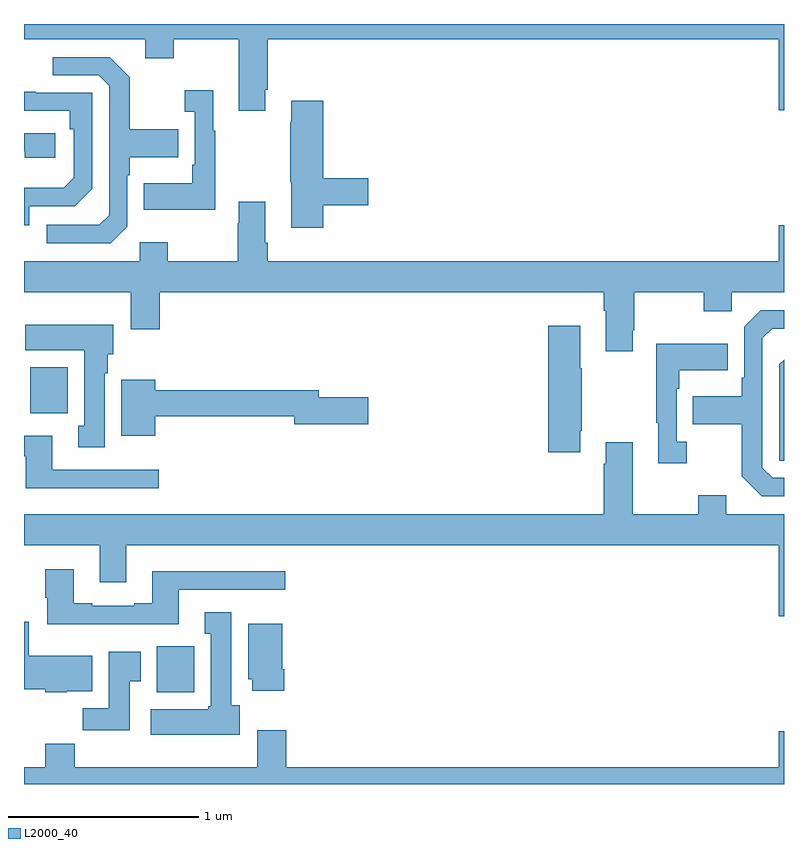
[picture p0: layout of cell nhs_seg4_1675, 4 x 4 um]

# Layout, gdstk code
import gdstk
lib = gdstk.Library(unit=1e-6, precision=1e-09)
def R(c, l, rs):  # rectangles x0, y0, x1, y1
    for r in rs: c.add(gdstk.rectangle(r[:2], r[2:], *l))
def P(c, l, *ps):  # polygons
    for p in ps: c.add(gdstk.Polygon(p, *l))
L2000_40 = (2000, 40)

nhs_seg4_1675 = lib.new_cell('nhs_seg4_1675')
R(nhs_seg4_1675, L2000_40, [(197.699,793.382,197.896,793.624), (197.033,794.852,197.23,795.094)])
P(nhs_seg4_1675, L2000_40, [(198.271,796.555),(198.284,796.555),(198.284,796.82),(200.972,796.82),(200.972,796.446),(201,796.446),(201,796.9),(197,796.9),(197,796.82),(197.639,796.82),(197.639,796.721),(197.787,796.721),(197.787,796.82),(198.131,796.82),(198.131,796.443),(198.271,796.443)],
  [(197.544,795.834),(197.544,796.103),(197.557,796.103),(197.557,796.199),(197.813,796.199),(197.813,796.347),(197.557,796.347),(197.557,796.619),(197.451,796.725),(197.151,796.725),(197.151,796.629),(197.394,796.629),(197.448,796.575),(197.448,795.894),(197.397,795.843),(197.121,795.843),(197.121,795.747),(197.457,795.747)],
  [(198.007,796.339),(197.995,796.339),(197.995,796.552),(197.847,796.552),(197.847,796.439),(197.898,796.439),(197.898,796.159),(197.886,796.159),(197.886,796.063),(197.629,796.063),(197.629,795.923),(198.007,795.923)],
  [(197.028,795.942),(197.268,795.942),(197.358,796.032),(197.358,796.539),(197.063,796.539),(197.063,796.544),(197,796.544),(197,796.443),(197.242,796.443),(197.242,796.346),(197.262,796.346),(197.262,796.092),(197.209,796.039),(197,796.039),(197,795.84),(197.028,795.84)],
  [(198.575,795.946),(198.811,795.946),(198.811,796.088),(198.575,796.088),(198.575,796.495),(198.407,796.495),(198.407,796.382),(198.4,796.382),(198.4,796.071),(198.407,796.071),(198.407,795.828),(198.575,795.828)],
  [(197.164,796.326),(197,796.326),(197,796.23),(197.003,796.23),(197.003,796.196),(197.164,796.196)],
  [(200.203,795.289),(200.211,795.289),(200.211,795.488),(200.578,795.488),(200.578,795.389),(200.724,795.389),(200.724,795.488),(201,795.488),(201,795.841),(200.972,795.841),(200.972,795.652),(198.284,795.652),(198.284,795.748),(198.271,795.748),(198.271,795.964),(198.131,795.964),(198.131,795.851),(198.124,795.851),(198.124,795.652),(197.757,795.652),(197.757,795.751),(197.61,795.751),(197.61,795.652),(197,795.652),(197,795.488),(197.561,795.488),(197.561,795.294),(197.714,795.294),(197.714,795.488),(200.051,795.488),(200.051,795.392),(200.063,795.392),(200.063,795.177),(200.203,795.177)],
  [(201,794.511),(200.94,794.511),(200.886,794.565),(200.886,795.246),(200.937,795.297),(201,795.297),(201,795.393),(200.877,795.393),(200.79,795.306),(200.79,795.037),(200.778,795.037),(200.778,794.941),(200.521,794.941),(200.521,794.794),(200.778,794.794),(200.778,794.521),(200.883,794.415),(201,794.415)],
  [(197.425,795.062),(197.44,795.062),(197.44,795.162),(197.47,795.162),(197.47,795.316),(197.006,795.316),(197.006,795.182),(197.318,795.182),(197.318,794.786),(197.285,794.786),(197.285,794.673),(197.425,794.673)],
  [(199.927,794.758),(199.935,794.758),(199.935,795.089),(199.927,795.089),(199.927,795.313),(199.76,795.313),(199.76,794.646),(199.927,794.646)],
  [(200.488,794.702),(200.436,794.702),(200.436,794.981),(200.449,794.981),(200.449,795.077),(200.705,795.077),(200.705,795.217),(200.328,795.217),(200.328,794.801),(200.339,794.801),(200.339,794.589),(200.488,794.589)],
  [(201,795.132),(200.976,795.108),(200.976,794.601),(201,794.601)],
  [(197.692,794.836),(198.422,794.836),(198.422,794.794),(198.811,794.794),(198.811,794.936),(198.55,794.936),(198.55,794.972),(197.692,794.972),(197.692,795.028),(197.513,795.028),(197.513,794.732),(197.692,794.732)],
  [(197.71,794.553),(197.149,794.553),(197.149,794.734),(197,794.734),(197,794.625),(197.009,794.625),(197.009,794.456),(197.71,794.456)],
  [(201,794.32),(200.695,794.32),(200.695,794.419),(200.548,794.419),(200.548,794.32),(200.203,794.32),(200.203,794.698),(200.063,794.698),(200.063,794.585),(200.051,794.585),(200.051,794.32),(197,794.32),(197,794.156),(197.399,794.156),(197.399,793.962),(197.539,793.962),(197.539,794.156),(200.972,794.156),(200.972,793.782),(201,793.782)],
  [(197.815,793.923),(198.376,793.923),(198.376,794.02),(197.675,794.02),(197.675,793.852),(197.579,793.852),(197.579,793.839),(197.359,793.839),(197.359,793.852),(197.263,793.852),(197.263,794.029),(197.111,794.029),(197.111,793.881),(197.123,793.881),(197.123,793.742),(197.815,793.742)],
  [(198.136,793.314),(198.091,793.314),(198.091,793.804),(197.951,793.804),(197.951,793.691),(197.984,793.691),(197.984,793.308),(197.971,793.308),(197.971,793.294),(197.667,793.294),(197.667,793.16),(198.136,793.16)],
  [(197.226,793.388),(197.359,793.388),(197.359,793.576),(197.026,793.576),(197.026,793.753),(197,793.753),(197,793.4),(197.112,793.4),(197.112,793.382),(197.226,793.382)],
  [(198.371,793.504),(198.358,793.504),(198.358,793.744),(198.179,793.744),(198.179,793.452),(198.2,793.452),(198.2,793.392),(198.371,793.392)],
  [(197.557,793.441),(197.614,793.441),(197.614,793.597),(197.447,793.597),(197.447,793.3),(197.308,793.3),(197.308,793.182),(197.557,793.182)],
  [(201,793.177),(200.972,793.177),(200.972,792.988),(198.38,792.988),(198.38,793.183),(198.227,793.183),(198.227,792.988),(197.267,792.988),(197.267,793.112),(197.111,793.112),(197.111,792.988),(197,792.988),(197,792.9),(201,792.9)])

lib.write_gds('nhs_seg4_1675.gds')
